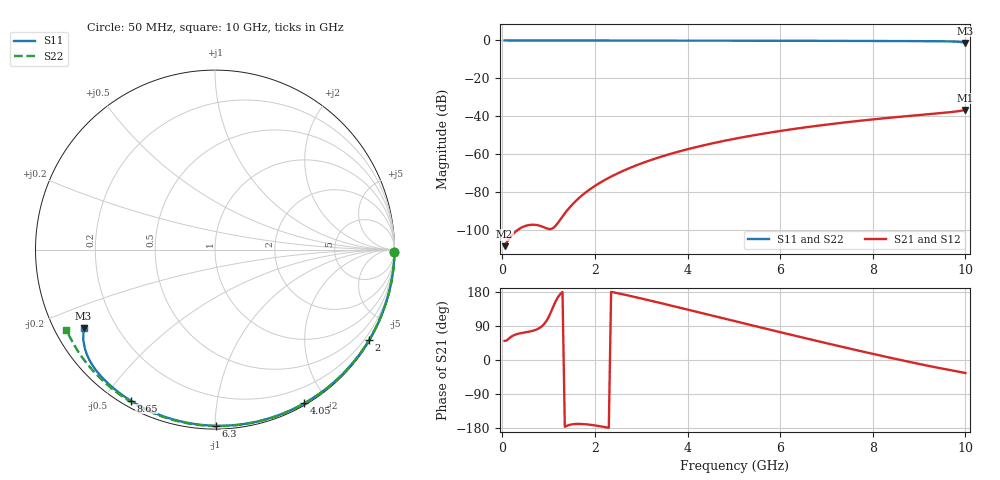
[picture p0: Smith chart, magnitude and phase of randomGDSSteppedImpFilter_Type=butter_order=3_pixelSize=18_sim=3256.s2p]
! freq	dB(S11)	phase(S11)	dB(S12)	phase(S12)
!  dB(S21)	phase(S21)	dB(S22)	phase(S22)
!S-par simulation data
#  GHz  S  DB  R 50
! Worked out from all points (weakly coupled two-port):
!   200 points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, 50 MHz to 10 GHz, reference 50 ohm
!   highest |S21| = -36.76 dB at 10 GHz (marker M1); lowest = -108.7 dB at 50 MHz (marker M2)
!   lowest |S11| = -1.4 dB at 10 GHz (marker M3), VSWR 12.56, Z = 4.28 - j13.7 ohm
!   |S11| at or under -10 dB: nowhere
!   |S22| runs from -0.5 to 0.0 dB; largest |S21 - S12| = 0
!   S11 on the Smith chart (normalised r, x): 50 MHz: open; 2 GHz: 0.03, -3.69; 4.05 GHz: 0.02, -1.74; 6.3 GHz: 0.02, -1.01; 8.65 GHz: 0.02, -0.59; 10 GHz: 0.09, -0.27
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0.05  -0.00 -0.8  -108.71 50.4  -108.71 50.4  -0.00 -0.9
0.85  -0.01 -13.1  -98.25 88.5  -98.25 88.5  -0.01 -14.7
1.75  -0.03 -26.6  -81.30 -169.1  -81.30 -169.1  -0.04 -29.9
1.8  -0.03 -27.4  -80.32 -169.6  -80.32 -169.6  -0.04 -30.7
1.85  -0.04 -28.1  -79.40 -170.2  -79.40 -170.2  -0.04 -31.6
2  -0.04 -30.4  -76.87 -172.6  -76.87 -172.6  -0.04 -34.1
2.3  -0.04 -34.8  -72.57 -179.0  -72.57 -179.0  -0.05 -39.0
2.6  -0.05 -39.2  -69.00 173.4  -69.00 173.4  -0.06 -44.0
3  -0.06 -45.0  -65.01 162.4  -65.01 162.4  -0.06 -50.4
3.4  -0.07 -50.7  -61.66 150.9  -61.66 150.9  -0.07 -56.8
4.05  -0.08 -59.8  -57.17 131.6  -57.17 131.6  -0.09 -66.9
5.05  -0.11 -73.4  -51.80 101.6  -51.80 101.6  -0.13 -82.0
6.3  -0.16 -89.7  -46.75 64.6  -46.75 64.6  -0.18 -100.0
6.7  -0.18 -94.8  -45.41 53.0  -45.41 53.0  -0.20 -105.6
7.5  -0.23 -104.8  -43.04 30.1  -43.04 30.1  -0.26 -116.6
8.35  -0.29 -115.4  -40.88 6.7  -40.88 6.7  -0.33 -128.2
8.65  -0.32 -119.2  -40.19 -1.3  -40.19 -1.3  -0.36 -132.3
9.25  -0.39 -127.5  -38.87 -16.7  -38.87 -16.7  -0.41 -140.6
9.65  -0.50 -134.7  -37.94 -26.1  -37.94 -26.1  -0.47 -146.3
9.85  -0.70 -140.6  -37.36 -30.6  -37.36 -30.6  -0.50 -149.3
9.95  -1.02 -145.6  -36.98 -33.1  -36.98 -33.1  -0.52 -150.8
10  -1.39 -149.2  -36.76 -34.5  -36.76 -34.5  -0.53 -151.6
